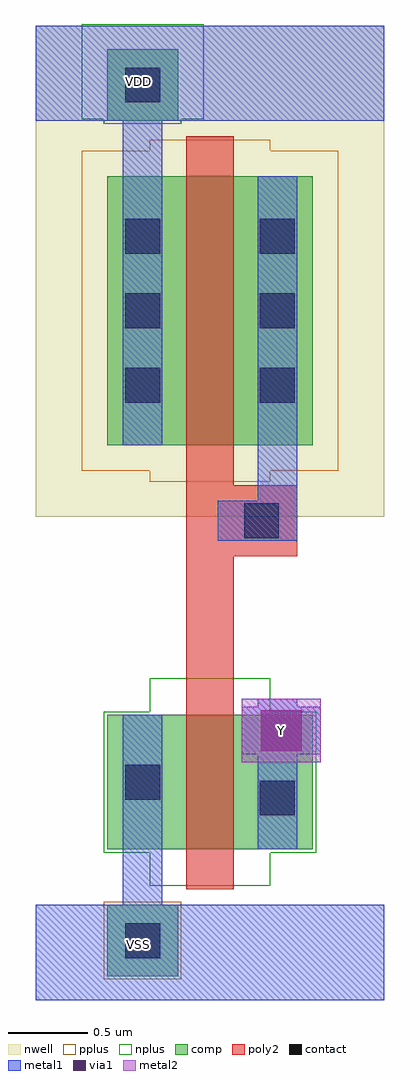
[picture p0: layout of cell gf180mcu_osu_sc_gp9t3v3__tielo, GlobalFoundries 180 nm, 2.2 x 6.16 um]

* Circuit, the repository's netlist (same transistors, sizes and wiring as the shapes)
* Copyright 2022 Google LLC
*
* Licensed under the Apache License, Version 2.0 (the "License");
* you may not use this file except in compliance with the License.
* You may obtain a copy of the License at
*
*      http://www.apache.org/licenses/LICENSE-2.0
*
* Unless required by applicable law or agreed to in writing, software
* distributed under the License is distributed on an "AS IS" BASIS,
* WITHOUT WARRANTIES OR CONDITIONS OF ANY KIND, either express or implied.
* See the License for the specific language governing permissions and
* limitations under the License.

.inc "/import/yukari1/lrburle/OSU_180/char/techfiles/design.hspice"
.lib "/import/yukari1/lrburle/OSU_180/char/techfiles/sm141064.hspice" typical

.GLOBAL VDD
.GLOBAL VSS

.option scale=0.05u

.subckt gf180mcu_osu_sc_gp9t3v3__tielo Y
X0 Y a_19_14 VSS VSS nmos_3p3 w=17 l=6
X1 a_19_14 a_19_14 VDD VDD pmos_3p3 w=34 l=6
.ends

** hspice subcircuit dictionary

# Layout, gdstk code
import gdstk
lib = gdstk.Library(unit=1e-6, precision=1e-09)
def R(c, l, rs):  # rectangles x0, y0, x1, y1
    for r in rs: c.add(gdstk.rectangle(r[:2], r[2:], *l))
def A(c, l, x, y, w, h, nx, ny, dx, dy):  # array of equal rectangles
    R(c, l, [(x+i*dx, y+j*dy, x+i*dx+w, y+j*dy+h) for i in range(nx) for j in range(ny)])
nwell = (21, 0)
comp = (22, 0)
poly2 = (30, 0)
pplus = (31, 0)
nplus = (32, 0)
contact = (33, 0)
metal1 = (34, 0)
via1 = (35, 0)
metal2 = (36, 0)

gf180mcu_osu_sc_gp9t3v3_ = lib.new_cell('gf180mcu_osu_sc_gp9t3v3__tielo')
R(gf180mcu_osu_sc_gp9t3v3_, nwell, [(0,3.05,2.2,6.15)])
R(gf180mcu_osu_sc_gp9t3v3_, comp, [(0.45,0.15,0.9,0.6), (0.45,0.95,1.75,1.8), (0.45,3.5,1.75,5.2), (0.45,5.55,0.9,6)])
R(gf180mcu_osu_sc_gp9t3v3_, poly2, [(0.95,0.7,1.25,2.8), (0.95,2.8,1.65,3.25), (0.95,3.25,1.25,5.45)])
R(gf180mcu_osu_sc_gp9t3v3_, pplus, [(0.43,0.13,0.92,0.62), (0.72,3.27,1.48,3.34), (0.29,3.34,1.91,5.36), (0.72,5.36,1.48,5.43)])
R(gf180mcu_osu_sc_gp9t3v3_, nplus, [(0.72,0.72,1.48,0.93), (0.43,0.93,1.77,1.82), (0.72,1.82,1.48,2.03), (0.43,5.53,0.92,5.56), (0.29,5.56,1.06,6.16)])
A(gf180mcu_osu_sc_gp9t3v3_, contact, 0.565, 3.77, 0.22, 0.22, 1, 3, 0, 0.47)
A(gf180mcu_osu_sc_gp9t3v3_, contact, 1.415, 3.77, 0.22, 0.22, 1, 3, 0, 0.47)
R(gf180mcu_osu_sc_gp9t3v3_, contact, [(0.565,0.265,0.785,0.485), (1.415,1.165,1.635,1.385), (0.565,1.265,0.785,1.485), (1.315,2.915,1.535,3.135), (0.565,5.665,0.785,5.885)])
R(gf180mcu_osu_sc_gp9t3v3_, metal1, [(0,0,2.2,0.6), (0.55,0.6,0.8,1.8), (1.4,0.95,1.65,1.55), (1.3,1.55,1.8,1.85), (1.4,1.85,1.65,1.9), (1.15,2.9,1.65,3.15), (1.4,3.15,1.65,5.2), (0.55,3.5,0.8,5.55), (0,5.55,2.2,6.15)])
R(gf180mcu_osu_sc_gp9t3v3_, via1, [(1.42,1.57,1.68,1.83)])
R(gf180mcu_osu_sc_gp9t3v3_, metal2, [(1.3,1.5,1.8,1.9)])
gf180mcu_osu_sc_gp9t3v3_.add(gdstk.Label('VDD', (0.65,5.8), layer=34, texttype=0))
gf180mcu_osu_sc_gp9t3v3_.add(gdstk.Label('VSS', (0.65,0.35), layer=34, texttype=0))
gf180mcu_osu_sc_gp9t3v3_.add(gdstk.Label('Y', (1.55,1.7), layer=36, texttype=10))

lib.write_gds('gf180mcu_osu_sc_gp9t3v3__tielo.gds')
